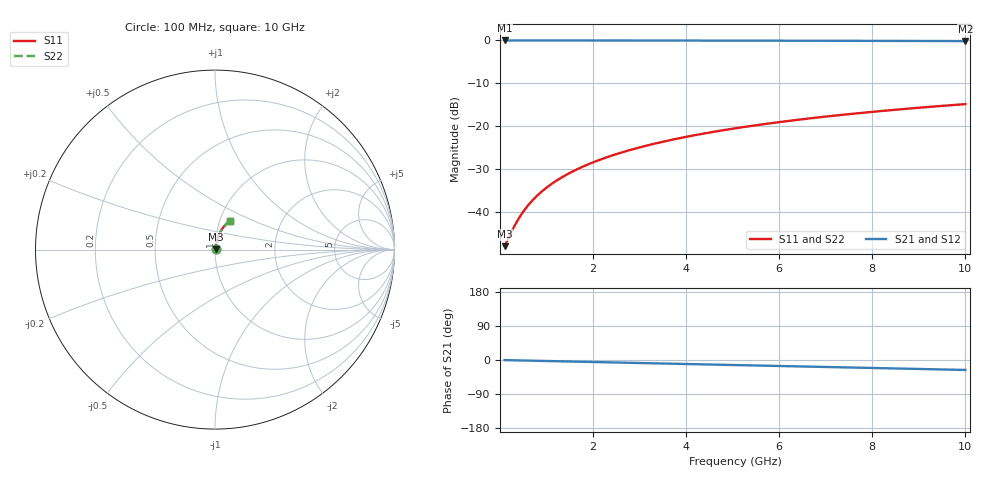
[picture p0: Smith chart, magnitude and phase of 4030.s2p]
# Hz S RI R 50.00
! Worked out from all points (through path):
!   100 points, 100 MHz to 10 GHz, reference 50 ohm
!   highest |S21| = -0.03 dB at 100 MHz (marker M1); lowest = -0.2 dB at 10 GHz (marker M2)
!   group delay of S21, straight-line fit = 7.29 ps
!   lowest |S11| = -48.0 dB at 100 MHz (marker M3), VSWR 1.01, Z = 50.4 + j0.188 ohm
!   |S11| at or under -10 dB: start of sweep to end of sweep
!   |S22| runs from -48.0 to -14.9 dB; largest |S21 - S12| = 0
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1e8  0.00352 0.00187  0.9965 -0.00459  0.9965 -0.00459  0.00352 0.00187
3e8  0.00363 0.0056  0.9963 -0.0138  0.9963 -0.0138  0.00363 0.0056
4e8  0.0037 0.00747  0.9962 -0.0184  0.9962 -0.0184  0.0037 0.00747
5e8  0.00379 0.00934  0.9961 -0.023  0.9961 -0.023  0.00379 0.00934
6e8  0.00389 0.0112  0.996 -0.0276  0.996 -0.0276  0.00389 0.0112
7e8  0.00401 0.0131  0.9958 -0.0321  0.9958 -0.0321  0.00401 0.0131
8e8  0.00415 0.0149  0.9956 -0.0367  0.9956 -0.0367  0.00415 0.0149
9e8  0.0043 0.0168  0.9954 -0.0413  0.9954 -0.0413  0.0043 0.0168
1e9  0.00447 0.0186  0.9951 -0.0459  0.9951 -0.0459  0.00447 0.0186
1.2e9  0.00486 0.0224  0.9946 -0.0551  0.9946 -0.0551  0.00486 0.0224
1.5e9  0.00557 0.0279  0.9935 -0.0688  0.9935 -0.0688  0.00557 0.0279
1.8e9  0.00644 0.0334  0.9923 -0.0825  0.9923 -0.0825  0.00644 0.0334
2.1e9  0.00745 0.0389  0.9909 -0.0962  0.9909 -0.0962  0.00745 0.0389
2.5e9  0.00904 0.0462  0.9886 -0.1144  0.9886 -0.1144  0.00904 0.0462
2.9e9  0.0109 0.0535  0.9859 -0.1325  0.9859 -0.1325  0.0109 0.0535
3.4e9  0.0136 0.0624  0.982 -0.1551  0.982 -0.1551  0.0136 0.0624
4.2e9  0.0187 0.0763  0.9746 -0.1909  0.9746 -0.1909  0.0187 0.0763
5.1e9  0.0257 0.0915  0.9644 -0.2307  0.9644 -0.2307  0.0257 0.0915
5.9e9  0.0329 0.1044  0.9539 -0.2654  0.9539 -0.2654  0.0329 0.1044
6.7e9  0.041 0.1168  0.9419 -0.2996  0.9419 -0.2996  0.041 0.1168
8.4e9  0.0611 0.1408  0.912 -0.37  0.912 -0.37  0.0611 0.1408
1e10  0.083 0.1602  0.8788 -0.433  0.8788 -0.433  0.083 0.1602
